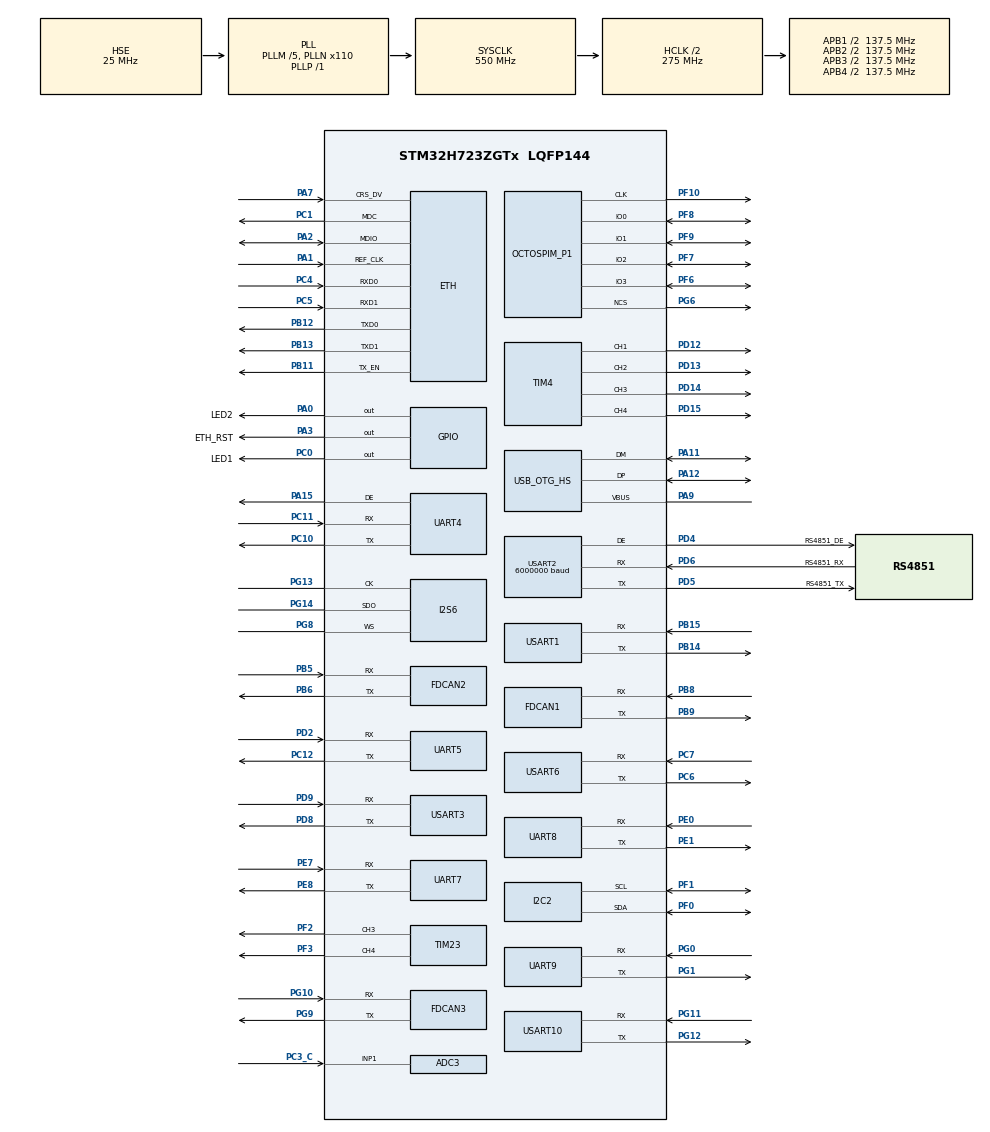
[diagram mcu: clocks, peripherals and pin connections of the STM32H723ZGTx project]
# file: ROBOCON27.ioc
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ADC3.Channel-0\#ChannelRegularConversion=ADC_CHANNEL_1
ADC3.NbrOfConversionFlag=1
ADC3.OffsetNumber-0\#ChannelRegularConversion=ADC_OFFSET_NONE
ADC3.OffsetSign-0\#ChannelRegularConversion=ADC3_OFFSET_SIGN_NEGATIVE
ADC3.Rank-0\#ChannelRegularConversion=1
ADC3.SamplingTime-0\#ChannelRegularConversion=ADC3_SAMPLETIME_2CYCLES_5
CORTEX_M7.default_mode_Activation=1
Dma.Request0=USART1_RX
Dma.Request1=USART1_TX
Dma.Request2=USART2_RX
Dma.Request3=USART2_TX
Dma.USART1_RX.0.Direction=DMA_PERIPH_TO_MEMORY
Dma.USART1_RX.0.EventEnable=DISABLE
Dma.USART1_RX.0.FIFOMode=DMA_FIFOMODE_DISABLE
Dma.USART1_RX.0.Instance=DMA1_Stream0
Dma.USART1_RX.0.MemDataAlignment=DMA_MDATAALIGN_BYTE
Dma.USART1_RX.0.MemInc=DMA_MINC_ENABLE
Dma.USART1_RX.0.Mode=DMA_CIRCULAR
Dma.USART1_RX.0.PeriphDataAlignment=DMA_PDATAALIGN_BYTE
Dma.USART1_RX.0.PeriphInc=DMA_PINC_DISABLE
Dma.USART1_RX.0.Polarity=HAL_DMAMUX_REQ_GEN_RISING
Dma.USART1_RX.0.Priority=DMA_PRIORITY_LOW
Dma.USART1_RX.0.RequestNumber=1
Dma.USART1_RX.0.SignalID=NONE
Dma.USART1_RX.0.SyncEnable=DISABLE
Dma.USART1_RX.0.SyncPolarity=HAL_DMAMUX_SYNC_NO_EVENT
Dma.USART1_RX.0.SyncRequestNumber=1
Dma.USART1_RX.0.SyncSignalID=NONE
Dma.USART1_TX.1.Direction=DMA_MEMORY_TO_PERIPH
Dma.USART1_TX.1.EventEnable=DISABLE
Dma.USART1_TX.1.FIFOMode=DMA_FIFOMODE_DISABLE
Dma.USART1_TX.1.Instance=DMA1_Stream1
Dma.USART1_TX.1.MemDataAlignment=DMA_MDATAALIGN_BYTE
Dma.USART1_TX.1.MemInc=DMA_MINC_ENABLE
Dma.USART1_TX.1.Mode=DMA_NORMAL
Dma.USART1_TX.1.PeriphDataAlignment=DMA_PDATAALIGN_BYTE
Dma.USART1_TX.1.PeriphInc=DMA_PINC_DISABLE
Dma.USART1_TX.1.Polarity=HAL_DMAMUX_REQ_GEN_RISING
Dma.USART1_TX.1.Priority=DMA_PRIORITY_LOW
Dma.USART1_TX.1.RequestNumber=1
Dma.USART1_TX.1.SignalID=NONE
Dma.USART1_TX.1.SyncEnable=DISABLE
Dma.USART1_TX.1.SyncPolarity=HAL_DMAMUX_SYNC_NO_EVENT
Dma.USART1_TX.1.SyncRequestNumber=1
Dma.USART1_TX.1.SyncSignalID=NONE
Dma.USART2_RX.2.Direction=DMA_PERIPH_TO_MEMORY
Dma.USART2_RX.2.EventEnable=DISABLE
Dma.USART2_RX.2.FIFOMode=DMA_FIFOMODE_DISABLE
Dma.USART2_RX.2.Instance=DMA1_Stream2
Dma.USART2_RX.2.MemDataAlignment=DMA_MDATAALIGN_BYTE
Dma.USART2_RX.2.MemInc=DMA_MINC_ENABLE
Dma.USART2_RX.2.Mode=DMA_CIRCULAR
Dma.USART2_RX.2.PeriphDataAlignment=DMA_PDATAALIGN_BYTE
Dma.USART2_RX.2.PeriphInc=DMA_PINC_DISABLE
Dma.USART2_RX.2.Polarity=HAL_DMAMUX_REQ_GEN_RISING
Dma.USART2_RX.2.Priority=DMA_PRIORITY_LOW
Dma.USART2_RX.2.RequestNumber=1
Dma.USART2_RX.2.SignalID=NONE
Dma.USART2_RX.2.SyncEnable=DISABLE
Dma.USART2_RX.2.SyncPolarity=HAL_DMAMUX_SYNC_NO_EVENT
Dma.USART2_RX.2.SyncRequestNumber=1
Dma.USART2_RX.2.SyncSignalID=NONE
Dma.USART2_TX.3.Direction=DMA_MEMORY_TO_PERIPH
Dma.USART2_TX.3.EventEnable=DISABLE
Dma.USART2_TX.3.FIFOMode=DMA_FIFOMODE_DISABLE
Dma.USART2_TX.3.Instance=DMA1_Stream3
Dma.USART2_TX.3.MemDataAlignment=DMA_MDATAALIGN_BYTE
Dma.USART2_TX.3.MemInc=DMA_MINC_ENABLE
Dma.USART2_TX.3.Mode=DMA_NORMAL
Dma.USART2_TX.3.PeriphDataAlignment=DMA_PDATAALIGN_BYTE
Dma.USART2_TX.3.PeriphInc=DMA_PINC_DISABLE
Dma.USART2_TX.3.Polarity=HAL_DMAMUX_REQ_GEN_RISING
Dma.USART2_TX.3.Priority=DMA_PRIORITY_LOW
Dma.USART2_TX.3.RequestNumber=1
Dma.USART2_TX.3.SignalID=NONE
Dma.USART2_TX.3.SyncEnable=DISABLE
Dma.USART2_TX.3.SyncPolarity=HAL_DMAMUX_SYNC_NO_EVENT
Dma.USART2_TX.3.SyncRequestNumber=1
Dma.USART2_TX.3.SyncSignalID=NONE
ETH.MediaInterface=HAL_ETH_RMII_MODE
FDCAN1.CalculateBaudRateNominal=1000000
FDCAN1.CalculateTimeBitNominal=1000
FDCAN1.CalculateTimeQuantumNominal=50.0
FDCAN1.ExtFiltersNbr=2
FDCAN1.NominalPrescaler=4
FDCAN1.NominalSyncJumpWidth=2
FDCAN1.NominalTimeSeg1=15
FDCAN1.NominalTimeSeg2=4
FDCAN1.RxFifo0ElmtsNbr=8
FDCAN1.RxFifo1ElmtsNbr=8
FDCAN1.StdFiltersNbr=2
FDCAN1.TxBuffersNbr=29
FDCAN1.TxFifoQueueElmtsNbr=3
FDCAN2.CalculateBaudRateNominal=1000000
FDCAN2.CalculateTimeBitNominal=1000
FDCAN2.CalculateTimeQuantumNominal=50.0
FDCAN2.ExtFiltersNbr=2
FDCAN2.MessageRAMOffset=1024
FDCAN2.NominalPrescaler=4
FDCAN2.NominalSyncJumpWidth=2
FDCAN2.NominalTimeSeg1=15
FDCAN2.NominalTimeSeg2=4
FDCAN2.RxFifo0ElmtsNbr=8
FDCAN2.RxFifo1ElmtsNbr=8
FDCAN2.StdFiltersNbr=2
FDCAN2.TxBuffersNbr=29
FDCAN2.TxFifoQueueElmtsNbr=3
FDCAN3.CalculateBaudRateNominal=1000000
FDCAN3.CalculateTimeBitNominal=1000
FDCAN3.CalculateTimeQuantumNominal=50.0
FDCAN3.ExtFiltersNbr=2
FDCAN3.MessageRAMOffset=2048
FDCAN3.NominalPrescaler=4
FDCAN3.NominalSyncJumpWidth=2
FDCAN3.NominalTimeSeg1=15
FDCAN3.NominalTimeSeg2=4
FDCAN3.RxFifo0ElmtsNbr=8
FDCAN3.RxFifo1ElmtsNbr=8
FDCAN3.StdFiltersNbr=2
FDCAN3.TxBuffersNbr=29
FDCAN3.TxFifoQueueElmtsNbr=3
FREERTOS.Tasks01=defaultTask,8,128,StartDefaultTask,Default,NULL,Static,defaultTaskBuffer,defaultTaskControlBlock
FREERTOS.configENABLE_FPU=1
I2C2.Timing=0x60404E72
I2S6.AudioFreq=I2S_AUDIOFREQ_11K
I2S6.ErrorAudioFreq=-0.1 %
I2S6.Instance=SPI$Index
I2S6.RealAudioFreq=10.989 KHz
Mcu.Family=STM32H7
Mcu.Name=STM32H723ZGTx
Mcu.Package=LQFP144
NVIC.DMA1_Stream0_IRQn=true\:5\:0\:false\:false\:true\:true\:false\:true\:true
NVIC.DMA1_Stream1_IRQn=true\:5\:0\:false\:false\:true\:true\:false\:true\:true
NVIC.DMA1_Stream2_IRQn=true\:5\:0\:false\:false\:true\:true\:false\:true\:true
NVIC.DMA1_Stream3_IRQn=true\:5\:0\:false\:false\:true\:true\:false\:true\:true
NVIC.FDCAN1_IT0_IRQn=true\:5\:0\:false\:false\:true\:true\:true\:true\:true
NVIC.FDCAN1_IT1_IRQn=true\:5\:0\:false\:false\:true\:true\:true\:true\:true
NVIC.FDCAN2_IT0_IRQn=true\:5\:0\:false\:false\:true\:true\:true\:true\:true
NVIC.FDCAN2_IT1_IRQn=true\:5\:0\:false\:false\:true\:true\:true\:true\:true
NVIC.FDCAN3_IT0_IRQn=true\:5\:0\:false\:false\:true\:true\:true\:true\:true
NVIC.FDCAN3_IT1_IRQn=true\:5\:0\:false\:false\:true\:true\:true\:true\:true
NVIC.PriorityGroup=NVIC_PRIORITYGROUP_4
NVIC.TIM6_DAC_IRQn=true\:15\:0\:false\:false\:true\:false\:false\:true\:true
NVIC.TimeBase=TIM6_DAC_IRQn
NVIC.TimeBaseIP=TIM6
NVIC.USART1_IRQn=true\:5\:0\:false\:false\:true\:true\:true\:true\:true
NVIC.USART2_IRQn=true\:5\:0\:false\:false\:true\:true\:true\:true\:true
NVIC.USART3_IRQn=true\:5\:0\:false\:false\:true\:true\:true\:true\:true
PA0.GPIO_Label=LED2
PA0.Signal=GPIO_Output
PA1.Mode=RMII
PA1.Signal=ETH_REF_CLK
PA11.Mode=Device_Only_FS
PA11.Signal=USB_OTG_HS_DM
PA12.Mode=Device_Only_FS
PA12.Signal=USB_OTG_HS_DP
PA13(JTMS/SWDIO).Mode=Trace_Asynchronous_SW
PA13(JTMS/SWDIO).Signal=DEBUG_JTMS-SWDIO
PA14(JTCK/SWCLK).Mode=Trace_Asynchronous_SW
PA14(JTCK/SWCLK).Signal=DEBUG_JTCK-SWCLK
PA15(JTDI).Mode=Hardware Flow Control (RS485)
PA15(JTDI).Signal=UART4_DE
PA2.Mode=RMII
PA2.Signal=ETH_MDIO
PA3.GPIO_Label=ETH_RST
PA3.Signal=GPIO_Output
PA7.Mode=RMII
PA7.Signal=ETH_CRS_DV
PA9.Mode=Activate_VBUS_FS
PA9.Signal=USB_OTG_HS_VBUS
PB11.Mode=RMII
PB11.Signal=ETH_TX_EN
PB12.Mode=RMII
PB12.Signal=ETH_TXD0
PB13.Mode=RMII
PB13.Signal=ETH_TXD1
PB14.Mode=Asynchronous
PB14.Signal=USART1_TX
PB15.Mode=Asynchronous
PB15.Signal=USART1_RX
PB3(JTDO/TRACESWO).Mode=Trace_Asynchronous_SW
PB3(JTDO/TRACESWO).Signal=DEBUG_JTDO-SWO
PB5.Mode=FDCAN_Activate
PB5.Signal=FDCAN2_RX
PB6.Mode=FDCAN_Activate
PB6.Signal=FDCAN2_TX
PB8.Mode=FDCAN_Activate
PB8.Signal=FDCAN1_RX
PB9.Mode=FDCAN_Activate
PB9.Signal=FDCAN1_TX
PC0.GPIO_Label=LED1
PC0.Signal=GPIO_Output
PC1.Mode=RMII
PC1.Signal=ETH_MDC
PC10.Mode=Asynchronous
PC10.Signal=UART4_TX
PC11.Mode=Asynchronous
PC11.Signal=UART4_RX
PC12.Mode=Asynchronous
PC12.Signal=UART5_TX
PC3_C.Mode=IN1-Single-Ended
PC3_C.Signal=ADC3_INP1
PC4.Mode=RMII
PC4.Signal=ETH_RXD0
PC5.Mode=RMII
PC5.Signal=ETH_RXD1
PC6.Mode=Asynchronous
PC6.Signal=USART6_TX
PC7.Mode=Asynchronous
PC7.Signal=USART6_RX
PD12.Signal=S_TIM4_CH1
PD13.Signal=S_TIM4_CH2
PD14.Signal=S_TIM4_CH3
PD15.Signal=S_TIM4_CH4
PD2.Mode=Asynchronous
PD2.Signal=UART5_RX
PD4.GPIO_Label=RS4851_DE
PD4.Mode=Hardware Flow Control (RS485)
PD4.Signal=USART2_DE
PD5.GPIO_Label=RS4851_TX
PD5.Mode=Asynchronous
PD5.Signal=USART2_TX
PD6.GPIO_Label=RS4851_RX
PD6.Mode=Asynchronous
PD6.Signal=USART2_RX
PD8.Mode=Asynchronous
PD8.Signal=USART3_TX
PD9.Mode=Asynchronous
PD9.Signal=USART3_RX
PE0.Mode=Asynchronous
PE0.Signal=UART8_RX
PE1.Mode=Asynchronous
PE1.Signal=UART8_TX
PE7.Mode=Asynchronous
PE7.Signal=UART7_RX
PE8.Mode=Asynchronous
PE8.Signal=UART7_TX
PF0.Mode=I2C
PF0.Signal=I2C2_SDA
PF1.Mode=I2C
PF1.Signal=I2C2_SCL
PF10.Mode=O1_P1_CLK
PF10.Signal=OCTOSPIM_P1_CLK
PF2.Signal=S_TIM23_CH3
PF3.Signal=S_TIM23_CH4
PF6.Mode=OCTOSPI1_IOL_Port1L
PF6.Signal=OCTOSPIM_P1_IO3
PF7.Mode=OCTOSPI1_IOL_Port1L
PF7.Signal=OCTOSPIM_P1_IO2
PF8.Mode=OCTOSPI1_IOL_Port1L
PF8.Signal=OCTOSPIM_P1_IO0
PF9.Mode=OCTOSPI1_IOL_Port1L
PF9.Signal=OCTOSPIM_P1_IO1
PG0.Mode=Asynchronous
PG0.Signal=UART9_RX
PG1.Mode=Asynchronous
PG1.Signal=UART9_TX
PG10.Mode=FDCAN_Activate
PG10.Signal=FDCAN3_RX
PG11.Mode=Asynchronous
PG11.Signal=USART10_RX
PG12.Mode=Asynchronous
PG12.Signal=USART10_TX
PG13.Mode=Half_Duplex_Master_Tx
PG13.Signal=I2S6_CK
PG14.Mode=Half_Duplex_Master_Tx
PG14.Signal=I2S6_SDO
PG6.Mode=OCTOSPI1_Port1_NCS
PG6.Signal=OCTOSPIM_P1_NCS
PG8.Mode=Half_Duplex_Master_Tx
PG8.Signal=I2S6_WS
PG9.Mode=FDCAN_Activate
PG9.Signal=FDCAN3_TX
PH0-OSC_IN.Mode=HSE-External-Oscillator
PH0-OSC_IN.Signal=RCC_OSC_IN
PH1-OSC_OUT.Mode=HSE-External-Oscillator
PH1-OSC_OUT.Signal=RCC_OSC_OUT
ProjectManager.HeapSize=0x1000
ProjectManager.StackSize=0x1500
ProjectManager.TargetToolchain=CMake
RCC.ADCFreq_Value=80000000
RCC.APB1Freq_Value=137500000
RCC.APB2Freq_Value=137500000
RCC.APB3Freq_Value=137500000
RCC.APB4Freq_Value=137500000
RCC.CKPERSourceSelection=RCC_CLKPSOURCE_HSE
RCC.CortexFreq_Value=550000000
RCC.D1PPRE=RCC_APB3_DIV2
RCC.D2PPRE1=RCC_APB1_DIV2
RCC.D2PPRE2=RCC_APB2_DIV2
RCC.D3PPRE=RCC_APB4_DIV2
RCC.DIVM1=5
RCC.DIVM2=5
RCC.DIVM3=5
RCC.DIVN1=110
RCC.DIVN2=64
RCC.DIVN3=100
RCC.DIVP1=1
RCC.DIVP2=4
RCC.DIVQ1=1
RCC.DIVQ2=4
RCC.EnbaleCSS=true
RCC.FDCANCLockSelection=RCC_FDCANCLKSOURCE_PLL2
RCC.HCLKFreq_Value=275000000
RCC.HPRE=RCC_HCLK_DIV2
RCC.HSE_VALUE=25000000
RCC.PLL1_VCI_Range-AdvancedSettings=RCC_PLL1VCIRANGE_3
RCC.PLL2FRACN=0
RCC.PLL3FRACN=0
RCC.PLLFRACN=0
RCC.PLLSourceVirtual=RCC_PLLSOURCE_HSE
RCC.SPI123CLockSelection=RCC_SPI123CLKSOURCE_PLL3
RCC.SYSCLKFreq_VALUE=550000000
RCC.SYSCLKSource=RCC_SYSCLKSOURCE_PLLCLK
RCC.Spi45ClockSelection=RCC_SPI45CLKSOURCE_PLL3
RCC.USBCLockSelection=RCC_USBCLKSOURCE_HSI48
RCC.USBFreq_Value=48000000
SH.S_TIM23_CH3.0=TIM23_CH3,PWM Generation3 CH3
SH.S_TIM23_CH4.0=TIM23_CH4,Output Compare4 CH4
SH.S_TIM4_CH1.0=TIM4_CH1,PWM Generation1 CH1
SH.S_TIM4_CH2.0=TIM4_CH2,PWM Generation2 CH2
SH.S_TIM4_CH3.0=TIM4_CH3,PWM Generation3 CH3
SH.S_TIM4_CH4.0=TIM4_CH4,PWM Generation4 CH4
TIM23.Channel-Output\ Compare4\ CH4=TIM_CHANNEL_4
TIM23.Channel-PWM\ Generation3\ CH3=TIM_CHANNEL_3
TIM4.Channel-PWM\ Generation1\ CH1=TIM_CHANNEL_1
TIM4.Channel-PWM\ Generation2\ CH2=TIM_CHANNEL_2
TIM4.Channel-PWM\ Generation3\ CH3=TIM_CHANNEL_3
TIM4.Channel-PWM\ Generation4\ CH4=TIM_CHANNEL_4
USART1.VirtualMode-Asynchronous=VM_ASYNC
USART10.VirtualMode-Asynchronous=VM_ASYNC
USART2.BaudRate=6000000
USART2.VirtualMode-Asynchronous=VM_ASYNC
USART2.VirtualMode-Hardware\ Flow\ Control\ (RS485)=VM_ASYNC
USART3.VirtualMode-Asynchronous=VM_ASYNC
USART6.VirtualMode-Asynchronous=VM_ASYNC
USB_OTG_HS.VirtualMode-Device_Only_FS=Device_Only_FS
VP_FREERTOS_VS_CMSIS_V2.Mode=CMSIS_V2
VP_MEMORYMAP_VS_MEMORYMAP.Mode=CurAppReg
VP_OCTOSPI1_VS_quad.Mode=quad_mode
VP_SYS_VS_tim6.Mode=TIM6
board=custom

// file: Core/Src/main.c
/* USER CODE BEGIN Header */
/**
  ******************************************************************************
  * @file           : main.c
  * @brief          : Main program body
  ******************************************************************************
  * @attention
  *
  * Copyright (c) 2026 STMicroelectronics.
  * All rights reserved.
  *
  * This software is licensed under terms that can be found in the LICENSE file
  * in the root directory of this software component.
  * If no LICENSE file comes with this software, it is provided AS-IS.
  *
  ******************************************************************************
  */
/* USER CODE END Header */
#include "main.h"
#include "FreeRTOS.h"
#include "cmsis_os2.h"
#include "adc.h"
#include "dma.h"
#include "eth.h"
#include "fdcan.h"
#include "i2c.h"
#include "i2s.h"
#include "octospi.h"
#include "tim.h"
#include "usart.h"
#include "usb_otg.h"
#include "gpio.h"

void SystemClock_Config(void);
void PeriphCommonClock_Config(void);
static void MPU_Config(void);
void MX_FREERTOS_Init(void);

int main(void)
{

  /* MPU Configuration--------------------------------------------------------*/
  MPU_Config();

  /* MCU Configuration--------------------------------------------------------*/

  /* Reset of all peripherals, Initializes the Flash interface and the Systick. */
  HAL_Init();

  /* Configure the system clock */
  SystemClock_Config();

  /* Configure the peripherals common clocks */
  PeriphCommonClock_Config();

  /* USER CODE BEGIN SysInit */

  /* 强制复位 DMA 控制器，清除热启动/调试器复位残留状态 */
  __HAL_RCC_DMA1_FORCE_RESET();
  __HAL_RCC_DMA1_RELEASE_RESET();
  __HAL_RCC_DMA2_FORCE_RESET();
  __HAL_RCC_DMA2_RELEASE_RESET();

  /* USER CODE END SysInit */

  /* Initialize all configured peripherals */
  MX_GPIO_Init();
  MX_DMA_Init();
  MX_ETH_Init();
  MX_FDCAN1_Init();
  MX_FDCAN2_Init();
  MX_FDCAN3_Init();
  MX_OCTOSPI1_Init();
  MX_UART4_Init();
  MX_UART5_Init();
  MX_UART7_Init();
  MX_UART8_Init();
  MX_UART9_Init();
  MX_USART1_UART_Init();
  MX_USART2_UART_Init();
  MX_USART3_UART_Init();
  MX_USART6_UART_Init();
  MX_USART10_UART_Init();
  MX_USB_OTG_HS_PCD_Init();
  MX_ADC3_Init();
  MX_I2C2_Init();
  MX_I2S6_Init();
  MX_TIM4_Init();
  MX_TIM23_Init();
  /* USER CODE BEGIN 2 */
  // MX_USB_DEVICE_Init();
  // 要放前面，因为usb设备调用的HAL tick 来自 TIM6 中断，而 TIM6 中断优先级较低
  // 如果放在后面，可能会因为任务启动阶段有临界区/屏蔽中断导致tick不走进而导致 USB 设备初始化失败。
  /* USER CODE END 2 */

  /* Init scheduler */
  osKernelInitialize();  /* Call init function for freertos objects (in cmsis_os2.c) */
  MX_FREERTOS_Init();

  /* Start scheduler */
  osKernelStart();

  /* We should never get here as control is now taken by the scheduler */

  /* Infinite loop */
  while (1)
  {

  }
}

void SystemClock_Config(void)
{
  RCC_OscInitTypeDef RCC_OscInitStruct = {0};
  RCC_ClkInitTypeDef RCC_ClkInitStruct = {0};

  /** Supply configuration update enable
  */
  HAL_PWREx_ConfigSupply(PWR_LDO_SUPPLY);

  /** Configure the main internal regulator output voltage
  */
  __HAL_PWR_VOLTAGESCALING_CONFIG(PWR_REGULATOR_VOLTAGE_SCALE0);

  while(!__HAL_PWR_GET_FLAG(PWR_FLAG_VOSRDY)) {}

  /** Initializes the RCC Oscillators according to the specified parameters
  * in the RCC_OscInitTypeDef structure.
  */
  RCC_OscInitStruct.OscillatorType = RCC_OSCILLATORTYPE_HSI48|RCC_OSCILLATORTYPE_HSE;
  RCC_OscInitStruct.HSEState = RCC_HSE_ON;
  RCC_OscInitStruct.HSI48State = RCC_HSI48_ON;
  RCC_OscInitStruct.PLL.PLLState = RCC_PLL_ON;
  RCC_OscInitStruct.PLL.PLLSource = RCC_PLLSOURCE_HSE;
  RCC_OscInitStruct.PLL.PLLM = 5;
  RCC_OscInitStruct.PLL.PLLN = 110;
  RCC_OscInitStruct.PLL.PLLP = 1;
  RCC_OscInitStruct.PLL.PLLQ = 1;
  RCC_OscInitStruct.PLL.PLLR = 2;
  RCC_OscInitStruct.PLL.PLLRGE = RCC_PLL1VCIRANGE_2;
  RCC_OscInitStruct.PLL.PLLVCOSEL = RCC_PLL1VCOWIDE;
  RCC_OscInitStruct.PLL.PLLFRACN = 0;
  if (HAL_RCC_OscConfig(&RCC_OscInitStruct) != HAL_OK)
  {
    Error_Handler();
  }

  /** Initializes the CPU, AHB and APB buses clocks
  */
  RCC_ClkInitStruct.ClockType = RCC_CLOCKTYPE_HCLK|RCC_CLOCKTYPE_SYSCLK
                              |RCC_CLOCKTYPE_PCLK1|RCC_CLOCKTYPE_PCLK2
                              |RCC_CLOCKTYPE_D3PCLK1|RCC_CLOCKTYPE_D1PCLK1;
  RCC_ClkInitStruct.SYSCLKSource = RCC_SYSCLKSOURCE_PLLCLK;
  RCC_ClkInitStruct.SYSCLKDivider = RCC_SYSCLK_DIV1;
  RCC_ClkInitStruct.AHBCLKDivider = RCC_HCLK_DIV2;
  RCC_ClkInitStruct.APB3CLKDivider = RCC_APB3_DIV2;
  RCC_ClkInitStruct.APB1CLKDivider = RCC_APB1_DIV2;
  RCC_ClkInitStruct.APB2CLKDivider = RCC_APB2_DIV2;
  RCC_ClkInitStruct.APB4CLKDivider = RCC_APB4_DIV2;

  if (HAL_RCC_ClockConfig(&RCC_ClkInitStruct, FLASH_LATENCY_3) != HAL_OK)
  {
    Error_Handler();
  }

  /** Enables the Clock Security System
  */
  HAL_RCC_EnableCSS();
}

void PeriphCommonClock_Config(void)
{
  RCC_PeriphCLKInitTypeDef PeriphClkInitStruct = {0};

  /** Initializes the peripherals clock
  */
  PeriphClkInitStruct.PeriphClockSelection = RCC_PERIPHCLK_ADC|RCC_PERIPHCLK_FDCAN;
  PeriphClkInitStruct.PLL2.PLL2M = 5;
  PeriphClkInitStruct.PLL2.PLL2N = 64;
  PeriphClkInitStruct.PLL2.PLL2P = 4;
  PeriphClkInitStruct.PLL2.PLL2Q = 4;
  PeriphClkInitStruct.PLL2.PLL2R = 2;
  PeriphClkInitStruct.PLL2.PLL2RGE = RCC_PLL2VCIRANGE_2;
  PeriphClkInitStruct.PLL2.PLL2VCOSEL = RCC_PLL2VCOWIDE;
  PeriphClkInitStruct.PLL2.PLL2FRACN = 0;
  PeriphClkInitStruct.FdcanClockSelection = RCC_FDCANCLKSOURCE_PLL2;
  PeriphClkInitStruct.AdcClockSelection = RCC_ADCCLKSOURCE_PLL2;
  if (HAL_RCCEx_PeriphCLKConfig(&PeriphClkInitStruct) != HAL_OK)
  {
    Error_Handler();
  }
}

 /* MPU Configuration */

void MPU_Config(void)
{
  MPU_Region_InitTypeDef MPU_InitStruct = {0};

  /* Disables the MPU */
  HAL_MPU_Disable();

  /** Initializes and configures the Region and the memory to be protected
  */
  MPU_InitStruct.Enable = MPU_REGION_ENABLE;
  MPU_InitStruct.Number = MPU_REGION_NUMBER0;
  MPU_InitStruct.BaseAddress = 0x0;
  MPU_InitStruct.Size = MPU_REGION_SIZE_4GB;
  MPU_InitStruct.SubRegionDisable = 0x87;
  MPU_InitStruct.TypeExtField = MPU_TEX_LEVEL0;
  MPU_InitStruct.AccessPermission = MPU_REGION_NO_ACCESS;
  MPU_InitStruct.DisableExec = MPU_INSTRUCTION_ACCESS_DISABLE;
  MPU_InitStruct.IsShareable = MPU_ACCESS_SHAREABLE;
  MPU_InitStruct.IsCacheable = MPU_ACCESS_NOT_CACHEABLE;
  MPU_InitStruct.IsBufferable = MPU_ACCESS_NOT_BUFFERABLE;

  HAL_MPU_ConfigRegion(&MPU_InitStruct);
  /* Enables the MPU */
  HAL_MPU_Enable(MPU_PRIVILEGED_DEFAULT);

}

void HAL_TIM_PeriodElapsedCallback(TIM_HandleTypeDef *htim)
{
  if (htim->Instance == TIM6)
  {
    HAL_IncTick();
  }
}

void Error_Handler(void)
{
  /* USER CODE BEGIN Error_Handler_Debug */
  __disable_irq();
  __HAL_RCC_DMA1_CLK_DISABLE();
  __HAL_RCC_DMA2_CLK_DISABLE();
  __HAL_RCC_DMA2D_CLK_DISABLE();
  HAL_GPIO_WritePin(LED1_GPIO_Port, LED1_Pin, GPIO_PIN_SET);
  HAL_GPIO_WritePin(LED2_GPIO_Port, LED2_Pin, GPIO_PIN_RESET);
  while (1)
  {
    HAL_GPIO_TogglePin(LED1_GPIO_Port, LED1_Pin);
    HAL_GPIO_TogglePin(LED2_GPIO_Port, LED2_Pin);

    volatile uint32_t delay_count = 10000000U;
    while (delay_count > 0U)
    {
      __NOP();
      --delay_count;
    }
  }
  /* USER CODE END Error_Handler_Debug */
}

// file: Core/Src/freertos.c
/* USER CODE BEGIN Header */
/**
  ******************************************************************************
  * File Name          : freertos.c
  * Description        : Code for freertos applications
  ******************************************************************************
  * @attention
  *
  * Copyright (c) 2026 STMicroelectronics.
  * All rights reserved.
  *
  * This software is licensed under terms that can be found in the LICENSE file
  * in the root directory of this software component.
  * If no LICENSE file comes with this software, it is provided AS-IS.
  *
  ******************************************************************************
  */
/* USER CODE END Header */

#include "FreeRTOS.h"
#include "task.h"
#include "main.h"
#include "FreeRTOS.h"
#include "cmsis_os2.h"

/* USER CODE BEGIN Includes */
#include "rtos_resource_init.h"
#include "robot.h"
/* USER CODE END Includes */

typedef StaticTask_t osStaticThreadDef_t;

/* Definitions for defaultTask */
osThreadId_t defaultTaskHandle;
uint32_t defaultTaskBuffer[ 128 ];
osStaticThreadDef_t defaultTaskControlBlock;
const osThreadAttr_t defaultTask_attributes = {
  .name = "defaultTask",
  .cb_mem = &defaultTaskControlBlock,
  .cb_size = sizeof(defaultTaskControlBlock),
  .stack_mem = &defaultTaskBuffer[0],
  .stack_size = sizeof(defaultTaskBuffer),
  .priority = (osPriority_t) osPriorityLow,
};

void StartDefaultTask(void *argument);

void MX_FREERTOS_Init(void); /* (MISRA C 2004 rule 8.1) */

void MX_FREERTOS_Init(void) {
  /* USER CODE BEGIN Init */
  rtos_resource_init();
  robot_init();
  /* USER CODE END Init */

  /* Create the thread(s) */
  /* creation of defaultTask */
  defaultTaskHandle = osThreadNew(StartDefaultTask, NULL, &defaultTask_attributes);

}

void StartDefaultTask(void *argument)
{
  /* USER CODE BEGIN StartDefaultTask */
  /* Infinite loop */
  for(;;)
  {
    osDelay(1);
    osThreadExit();
  }
  /* USER CODE END StartDefaultTask */
}
